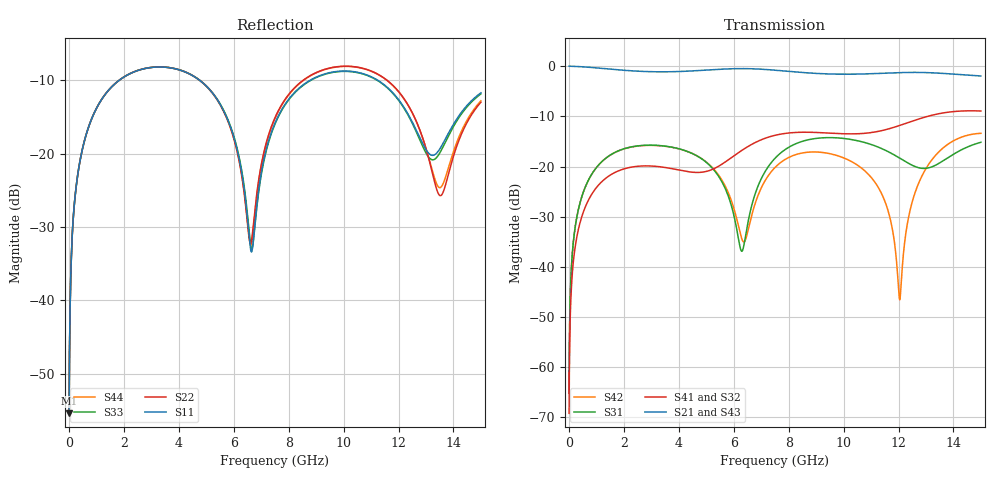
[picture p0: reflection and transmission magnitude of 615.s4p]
! Created with skrf 1.8.0 (http://scikit-rf.org).
# GHz S RI R 50.0
!freq ReS11 ImS11 ReS12 ImS12 ReS13 ImS13
! ReS14 ImS14
! ReS21 ImS21 ReS22 ImS22 ReS23 ImS23
! ReS24 ImS24
! ReS31 ImS31 ReS32 ImS32 ReS33 ImS33
! ReS34 ImS34
! ReS41 ImS41 ReS42 ImS42 ReS43 ImS43
! ReS44 ImS44
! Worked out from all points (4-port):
!   2499 points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, 5 MHz to 15 GHz, reference 50 ohm
!   strongest paths, dB at 5 MHz, 3.476 GHz, 7.19 GHz, 11.1 GHz, 15 GHz:
!     S21: 0.0, -1.1, -0.7, -1.5, -2.0
!     S43: 0.0, -1.1, -0.7, -1.5, -2.0
!     S41: -69.2, -20.2, -14.3, -13.2, -8.9
!     S32: -69.2, -20.1, -14.3, -13.2, -8.9
!     S31: -65.1, -15.9, -20.6, -15.8, -15.2
!     S42: -65.1, -16.0, -22.4, -22.8, -13.4
!   lowest |S11| = -55.4 dB at 5 MHz (marker M1), VSWR 1.00, Z = 50.1 + j0.103 ohm
!   |S11| at or under -10 dB: start of sweep to 1.818 GHz; 4.766 GHz to 8.768 GHz (4.001 GHz wide, 59.1 % of centre); 11.26 GHz to end of sweep
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0.005  0.00135 0.00103  0.9986 -0.00264  6.76e-05 0.000549  -6.56e-05 -0.000342
       0.9986 -0.00264  0.00135 0.00103  -6.56e-05 -0.000342  6.76e-05 0.000549
       6.76e-05 0.000549  -6.56e-05 -0.000342  0.00135 0.00103  0.9986 -0.00264
       -6.56e-05 -0.000342  6.76e-05 0.000549  0.9986 -0.00264  0.00135 0.00103
0.4126719  0.0265 0.0879  0.9632 -0.2148  0.013 0.0426  -0.0107 -0.0261
           0.9632 -0.2148  0.0266 0.0879  -0.0107 -0.0261  0.0129 0.0426
           0.013 0.0426  -0.0107 -0.0261  0.0265 0.0879  0.9632 -0.2148
           -0.0107 -0.0261  0.0129 0.0426  0.9632 -0.2148  0.0266 0.0879
1.925802  0.2757 0.1757  0.5347 -0.7389  0.1348 0.0607  -0.0931 -0.00344
          0.5347 -0.7389  0.2761 0.1754  -0.0932 -0.00335  0.1335 0.0625
          0.1348 0.0607  -0.0932 -0.00335  0.2757 0.1758  0.5346 -0.739
          -0.0931 -0.00344  0.1335 0.0625  0.5346 -0.739  0.2763 0.1754
6.609004  0.0214 -0.00732  -0.9385 -0.0789  0.0243 0.027  -0.00996 0.1632
          -0.9385 -0.0789  0.0245 -0.000514  -0.00828 0.1632  -0.0147 0.0251
          0.0243 0.027  -0.00828 0.1632  0.0224 -0.00948  -0.9385 -0.0793
          -0.00996 0.1632  -0.0147 0.0251  -0.9385 -0.0793  0.0238 -0.00269
10.12922  0.3665 0.00958  -0.0528 0.8284  0.1268 -0.1394  0.2077 -0.0403
          -0.0528 0.8284  0.3952 -0.0219  0.2074 -0.0431  0.1151 -0.0251
          0.1268 -0.1394  0.2074 -0.0431  0.3646 0.00681  -0.0515 0.8291
          0.2077 -0.0403  0.1151 -0.0251  -0.0515 0.8291  0.3939 -0.0203
12.04252  0.1897 -0.1278  0.6122 0.6059  -0.0744 -0.0958  0.1763 -0.1861
          0.6122 0.6059  0.1821 -0.1863  0.1736 -0.1885  0.0042 0.0021
          -0.0744 -0.0958  0.1736 -0.1885  0.185 -0.1305  0.6144 0.6042
          0.1763 -0.1861  0.0042 0.0021  0.6144 0.6042  0.1842 -0.1825
15  0.236 0.1104  0.6483 -0.4645  0.159 0.0712  -0.2503 -0.2548
    0.6483 -0.4645  0.1846 0.1279  -0.2565 -0.2521  0.2006 0.075
    0.159 0.0712  -0.2565 -0.2521  0.2292 0.1143  0.6455 -0.4681
    -0.2503 -0.2548  0.2006 0.075  0.6455 -0.4681  0.194 0.1231
